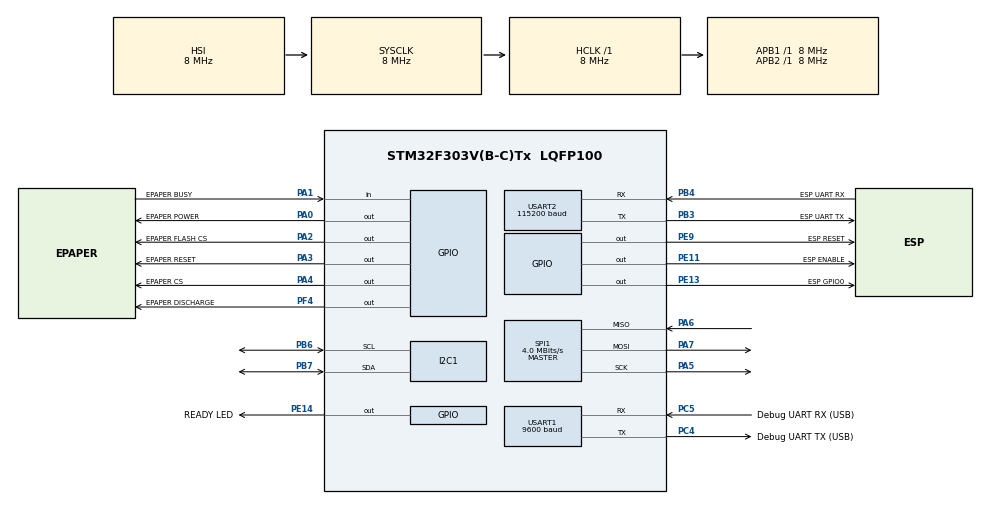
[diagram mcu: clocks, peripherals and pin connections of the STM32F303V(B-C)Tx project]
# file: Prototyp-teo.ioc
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Dma.Request0=USART2_RX
Dma.Request1=USART1_RX
Dma.USART1_RX.1.Direction=DMA_PERIPH_TO_MEMORY
Dma.USART1_RX.1.Instance=DMA1_Channel5
Dma.USART1_RX.1.MemDataAlignment=DMA_MDATAALIGN_BYTE
Dma.USART1_RX.1.MemInc=DMA_MINC_ENABLE
Dma.USART1_RX.1.Mode=DMA_CIRCULAR
Dma.USART1_RX.1.PeriphDataAlignment=DMA_PDATAALIGN_BYTE
Dma.USART1_RX.1.PeriphInc=DMA_PINC_DISABLE
Dma.USART1_RX.1.Priority=DMA_PRIORITY_LOW
Dma.USART2_RX.0.Direction=DMA_PERIPH_TO_MEMORY
Dma.USART2_RX.0.Instance=DMA1_Channel6
Dma.USART2_RX.0.MemDataAlignment=DMA_MDATAALIGN_BYTE
Dma.USART2_RX.0.MemInc=DMA_MINC_ENABLE
Dma.USART2_RX.0.Mode=DMA_CIRCULAR
Dma.USART2_RX.0.PeriphDataAlignment=DMA_PDATAALIGN_BYTE
Dma.USART2_RX.0.PeriphInc=DMA_PINC_DISABLE
Dma.USART2_RX.0.Priority=DMA_PRIORITY_LOW
I2C1.Timing=0x2000090E
Mcu.Family=STM32F3
Mcu.Name=STM32F303V(B-C)Tx
Mcu.Package=LQFP100
Mcu.UserConstants=IS_DISCOVERY,1
NVIC.DMA1_Channel5_IRQn=true\:0\:0\:false\:false\:true
NVIC.DMA1_Channel6_IRQn=true\:0\:0\:false\:false\:true
NVIC.PriorityGroup=NVIC_PRIORITYGROUP_4
NVIC.RTC_Alarm_IRQn=true\:15\:0\:true\:false\:true
PA0.GPIO_Label=EPAPER POWER
PA0.Signal=GPIO_Output
PA1.GPIO_Label=EPAPER BUSY
PA1.Signal=GPIO_Input
PA2.GPIO_Label=EPAPER FLASH CS
PA2.Signal=GPIO_Output
PA3.GPIO_Label=EPAPER RESET
PA3.Signal=GPIO_Output
PA4.GPIO_Label=EPAPER CS
PA4.Signal=GPIO_Output
PA5.Mode=Full_Duplex_Master
PA5.Signal=SPI1_SCK
PA6.Mode=Full_Duplex_Master
PA6.Signal=SPI1_MISO
PA7.Mode=Full_Duplex_Master
PA7.Signal=SPI1_MOSI
PB3.GPIO_Label=ESP UART TX
PB3.Mode=Asynchronous
PB3.Signal=USART2_TX
PB4.GPIO_Label=ESP UART RX
PB4.Mode=Asynchronous
PB4.Signal=USART2_RX
PB6.Mode=I2C
PB6.Signal=I2C1_SCL
PB7.Mode=I2C
PB7.Signal=I2C1_SDA
PC4.GPIO_Label=Debug UART TX (USB)
PC4.Mode=Asynchronous
PC4.Signal=USART1_TX
PC5.GPIO_Label=Debug UART RX (USB)
PC5.Mode=Asynchronous
PC5.Signal=USART1_RX
PE11.GPIO_Label=ESP ENABLE
PE11.Signal=GPIO_Output
PE13.GPIO_Label=ESP GPIO0
PE13.GPIO_ModeDefaultOutputPP=GPIO_MODE_OUTPUT_PP
PE13.Signal=GPIO_Output
PE14.GPIO_Label=READY LED
PE14.Signal=GPIO_Output
PE9.GPIO_Label=ESP RESET
PE9.Signal=GPIO_Output
PF4.GPIO_Label=EPAPER DISCHARGE
PF4.Signal=GPIO_Output
ProjectManager.HeapSize=0x200
ProjectManager.StackSize=0x400
ProjectManager.TargetToolchain=SW4STM32
RCC.AHBFreq_Value=8000000
RCC.APB1Freq_Value=8000000
RCC.APB1TimFreq_Value=8000000
RCC.APB2Freq_Value=8000000
RCC.APB2TimFreq_Value=8000000
RCC.CortexFreq_Value=8000000
RCC.HCLKFreq_Value=8000000
RCC.HSE_VALUE=8000000
RCC.HSICalibrationValue=16
RCC.HSI_VALUE=8000000
RCC.LSE_VALUE=32768
RCC.PLLMUL=RCC_PLL_MUL4
RCC.SYSCLKFreq_VALUE=8000000
RCC.USBFreq_Value=16000000
RTC.Alarm-Alarm\ A=RTC_ALARM_A
RTC.AlarmMaskDateWeekDay-Alarm\ A=RTC_ALARMMASK_DATEWEEKDAY
RTC.AlarmMaskDateWeekDay_B-Alarm\ B=RTC_ALARMMASK_DATEWEEKDAY
RTC.AlarmMaskHours-Alarm\ A=RTC_ALARMMASK_HOURS
RTC.AlarmMaskMinutes-Alarm\ A=RTC_ALARMMASK_MINUTES
RTC.Alarm_B-Alarm\ B=RTC_ALARM_B
RTC.AsynchPrediv=63
RTC.Hours_B-Alarm\ B=4
RTC.SynchPrediv=623
SPI1.BaudRatePrescaler=SPI_BAUDRATEPRESCALER_2
SPI1.CLKPhase=SPI_PHASE_1EDGE
SPI1.CalculateBaudRate=4.0 MBits/s
SPI1.DataSize=SPI_DATASIZE_8BIT
SPI1.Direction=SPI_DIRECTION_2LINES
SPI1.Mode=SPI_MODE_MASTER
SPI1.VirtualType=VM_MASTER
TIM2.AutoReloadPreload=TIM_AUTORELOAD_PRELOAD_ENABLE
TIM2.Period=80
USART1.BaudRate=9600
USART1.VirtualMode-Asynchronous=VM_ASYNC
USART2.BaudRate=115200
USART2.DataInvertParam=UART_ADVFEATURE_DATAINV_DISABLE
USART2.SwapParam=UART_ADVFEATURE_SWAP_DISABLE
USART2.VirtualMode-Asynchronous=VM_ASYNC
VP_RTC_VS_RTC_Activate.Mode=RTC_Enabled
VP_RTC_VS_RTC_Alarm_A_Intern.Mode=Alarm A
VP_RTC_VS_RTC_Alarm_B_Intern.Mode=Alarm B
VP_RTC_VS_RTC_Calendar.Mode=RTC_Calendar
VP_TIM2_VS_ClockSourceINT.Mode=Internal
VP_TIM2_VS_OPM.Mode=OPM_bit
board=Prototyp-teo

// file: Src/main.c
/**
  ******************************************************************************
  * File Name          : main.c
  * Description        : Main program body
  ******************************************************************************
  *
  * COPYRIGHT(c) 2017 STMicroelectronics
  *
  * Redistribution and use in source and binary forms, with or without modification,
  * are permitted provided that the following conditions are met:
  *   1. Redistributions of source code must retain the above copyright notice,
  *      this list of conditions and the following disclaimer.
  *   2. Redistributions in binary form must reproduce the above copyright notice,
  *      this list of conditions and the following disclaimer in the documentation
  *      and/or other materials provided with the distribution.
  *   3. Neither the name of STMicroelectronics nor the names of its contributors
  *      may be used to endorse or promote products derived from this software
  *      without specific prior written permission.
  *
  * THIS SOFTWARE IS PROVIDED BY THE COPYRIGHT HOLDERS AND CONTRIBUTORS "AS IS"
  * AND ANY EXPRESS OR IMPLIED WARRANTIES, INCLUDING, BUT NOT LIMITED TO, THE
  * IMPLIED WARRANTIES OF MERCHANTABILITY AND FITNESS FOR A PARTICULAR PURPOSE ARE
  * DISCLAIMED. IN NO EVENT SHALL THE COPYRIGHT HOLDER OR CONTRIBUTORS BE LIABLE
  * FOR ANY DIRECT, INDIRECT, INCIDENTAL, SPECIAL, EXEMPLARY, OR CONSEQUENTIAL
  * DAMAGES (INCLUDING, BUT NOT LIMITED TO, PROCUREMENT OF SUBSTITUTE GOODS OR
  * SERVICES; LOSS OF USE, DATA, OR PROFITS; OR BUSINESS INTERRUPTION) HOWEVER
  * CAUSED AND ON ANY THEORY OF LIABILITY, WHETHER IN CONTRACT, STRICT LIABILITY,
  * OR TORT (INCLUDING NEGLIGENCE OR OTHERWISE) ARISING IN ANY WAY OUT OF THE USE
  * OF THIS SOFTWARE, EVEN IF ADVISED OF THE POSSIBILITY OF SUCH DAMAGE.
  *
  ******************************************************************************
  */
#include "main.h"
#include "stm32f3xx_hal.h"
#include "dma.h"
#include "i2c.h"
#include "rtc.h"
#include "spi.h"
#include "tim.h"
#include "usart.h"
#include "gpio.h"

/* USER CODE BEGIN Includes */
#include "epaper.h"
#include "utils.h"
/* USER CODE END Includes */

/* USER CODE BEGIN PV */
/* Private variables ---------------------------------------------------------*/

/* USER CODE END PV */

void SystemClock_Config(void);
void Error_Handler(void);

/* USER CODE BEGIN PFP */
/* Private function prototypes -----------------------------------------------*/

/* USER CODE END PFP */

int main(void)
{

  /* MCU Configuration----------------------------------------------------------*/

  /* Reset of all peripherals, Initializes the Flash interface and the Systick. */
  HAL_Init();

  /* Configure the system clock */
  SystemClock_Config();

  /* Initialize all configured peripherals */
  MX_GPIO_Init();
  MX_DMA_Init();
  MX_I2C1_Init();
  MX_USART1_UART_Init();
  MX_USART2_UART_Init();
  MX_SPI1_Init();
  MX_TIM2_Init();
  MX_RTC_Init();

  /* USER CODE BEGIN 2 */
  HAL_GPIO_WritePin(READY_LED_GPIO_Port, READY_LED_Pin, GPIO_PIN_RESET);
  Display_Init();
  Epaper_Splash_Init();
  //Epaper_Demo();
  ESP_Init();
  Epaper_Splash_Shutdown();
  HAL_GPIO_WritePin(READY_LED_GPIO_Port, READY_LED_Pin, GPIO_PIN_SET);
  /* USER CODE END 2 */

  /* Infinite loop */
  /* USER CODE BEGIN WHILE */
  while (1)
  {
	  uint8_t buf[ESP_BUF_SIZE];
	  int16_t len;
	  if ((len = ESP_TCP_ReadLine(buf)) > 0) {
		  HAL_UART_Transmit(&huart1, buf, len, 1000);
		  HAL_UART_Transmit(&huart1, (uint8_t *)"\r\n", 2, 1000);

		  switch(buf[0]) {
		  case 'M':
			  Display_Strn(buf+1, len-1);
			  Epaper_MessageCard_Display(buf+1, len-1);
			  break;
		  case 'T':
			  setDateTime(buf+1, len-1);
			  break;
		  }
	  } else if (len == -1 && (len = ESP_ReadLine(buf)) != 0) {
		  HAL_UART_Transmit(&huart1, buf, len, 1000);
		  HAL_UART_Transmit(&huart1, (uint8_t *)"\r\n", 2, 1000);
		  Display_Strn(buf, len);
	  } else {
		  ESP_SleepUntilMessage();
	  }
	  /*uint8_t chr;
	  if (HAL_UART_Receive(&huart1, &chr, 1, 1000) != HAL_OK) {
		  continue;
	  }
	  HAL_GPIO_TogglePin(GPIOE, GPIO_PIN_9);
	  if (HAL_GPIO_ReadPin(GPIOE, GPIO_PIN_9) == GPIO_PIN_SET) {
		  chr = '1';
	  } else {
		  chr = '0';
	  }
	  HAL_UART_Transmit(&huart1, &chr, 1, 1000);
	  Display_Char(chr);*/
  /* USER CODE END WHILE */

  }

}

/** System Clock Configuration
*/
void SystemClock_Config(void)
{

  RCC_OscInitTypeDef RCC_OscInitStruct;
  RCC_ClkInitTypeDef RCC_ClkInitStruct;
  RCC_PeriphCLKInitTypeDef PeriphClkInit;

    /**Initializes the CPU, AHB and APB busses clocks
    */
  RCC_OscInitStruct.OscillatorType = RCC_OSCILLATORTYPE_HSI|RCC_OSCILLATORTYPE_LSI;
  RCC_OscInitStruct.HSIState = RCC_HSI_ON;
  RCC_OscInitStruct.HSICalibrationValue = 16;
  RCC_OscInitStruct.LSIState = RCC_LSI_ON;
  RCC_OscInitStruct.PLL.PLLState = RCC_PLL_NONE;
  if (HAL_RCC_OscConfig(&RCC_OscInitStruct) != HAL_OK)
  {
    Error_Handler();
  }

    /**Initializes the CPU, AHB and APB busses clocks
    */
  RCC_ClkInitStruct.ClockType = RCC_CLOCKTYPE_HCLK|RCC_CLOCKTYPE_SYSCLK
                              |RCC_CLOCKTYPE_PCLK1|RCC_CLOCKTYPE_PCLK2;
  RCC_ClkInitStruct.SYSCLKSource = RCC_SYSCLKSOURCE_HSI;
  RCC_ClkInitStruct.AHBCLKDivider = RCC_SYSCLK_DIV1;
  RCC_ClkInitStruct.APB1CLKDivider = RCC_HCLK_DIV1;
  RCC_ClkInitStruct.APB2CLKDivider = RCC_HCLK_DIV1;

  if (HAL_RCC_ClockConfig(&RCC_ClkInitStruct, FLASH_LATENCY_0) != HAL_OK)
  {
    Error_Handler();
  }

  PeriphClkInit.PeriphClockSelection = RCC_PERIPHCLK_USART1|RCC_PERIPHCLK_USART2
                              |RCC_PERIPHCLK_I2C1|RCC_PERIPHCLK_RTC;
  PeriphClkInit.Usart1ClockSelection = RCC_USART1CLKSOURCE_PCLK2;
  PeriphClkInit.Usart2ClockSelection = RCC_USART2CLKSOURCE_PCLK1;
  PeriphClkInit.I2c1ClockSelection = RCC_I2C1CLKSOURCE_HSI;
  PeriphClkInit.RTCClockSelection = RCC_RTCCLKSOURCE_LSI;
  if (HAL_RCCEx_PeriphCLKConfig(&PeriphClkInit) != HAL_OK)
  {
    Error_Handler();
  }

    /**Configure the Systick interrupt time
    */
  HAL_SYSTICK_Config(HAL_RCC_GetHCLKFreq()/1000);

    /**Configure the Systick
    */
  HAL_SYSTICK_CLKSourceConfig(SYSTICK_CLKSOURCE_HCLK);

  /* SysTick_IRQn interrupt configuration */
  HAL_NVIC_SetPriority(SysTick_IRQn, 0, 0);
}

void Error_Handler(void)
{
  while(1)
  {
  }
}

/************************ (C) COPYRIGHT STMicroelectronics *****END OF FILE****/
